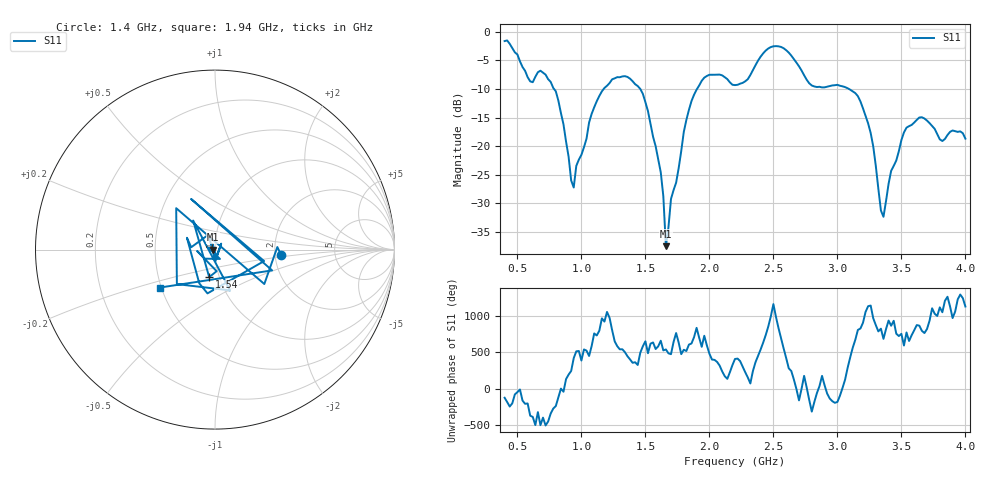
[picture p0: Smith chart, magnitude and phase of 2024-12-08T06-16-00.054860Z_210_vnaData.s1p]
!Created with skrf (http://scikit-rf.org).
# Hz S RI R 50.0
!freq ReS11 ImS11
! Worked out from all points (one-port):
!   181 points, 400 MHz to 4 GHz, reference 50 ohm
!   lowest |S11| = -37.5 dB at 1.66 GHz (marker M1), VSWR 1.03, Z = 48.7 + j0.0289 ohm
!   |S11| at or under -10 dB: 785.8 MHz to 1.174 GHz (388.5 MHz wide, 39.6 % of centre); 1.46 GHz to 1.903 GHz (443.4 MHz wide, 26.4 % of centre); 3.089 GHz to end of sweep
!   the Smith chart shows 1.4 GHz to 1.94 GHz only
!   S11 on the Smith chart (normalised r, x): 1.4 GHz: 2.16, -0.15; 1.54 GHz: 0.90, -0.28; 1.94 GHz: 0.49, -0.24
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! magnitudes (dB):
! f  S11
! 400 MHz  -1.6
! 600 MHz  -8.7
! 720 MHz  -7.5
! 860 MHz  -16.2
! 940 MHz  -27.2
! 1.1 GHz  -13.2
! 1.3 GHz  -8.0
! 1.4 GHz  -8.7
! 1.48 GHz  -10.9
! 1.54 GHz  -16.1
! 1.62 GHz  -24.6
! 1.64 GHz  -28.7
! 1.66 GHz  -37.5
! 1.7 GHz  -29.2
! 1.76 GHz  -23.8
! 1.84 GHz  -13.7
! 1.94 GHz  -8.6
! 2.2 GHz  -9.3
! 2.48 GHz  -2.7
! 2.66 GHz  -4.8
! 2.8 GHz  -9.4
! 3.1 GHz  -10.1
! 3.26 GHz  -17.7
! 3.36 GHz  -32.3
! 3.42 GHz  -24.3
! 3.56 GHz  -16.5
! 3.66 GHz  -15.0
! 4 GHz  -18.7
